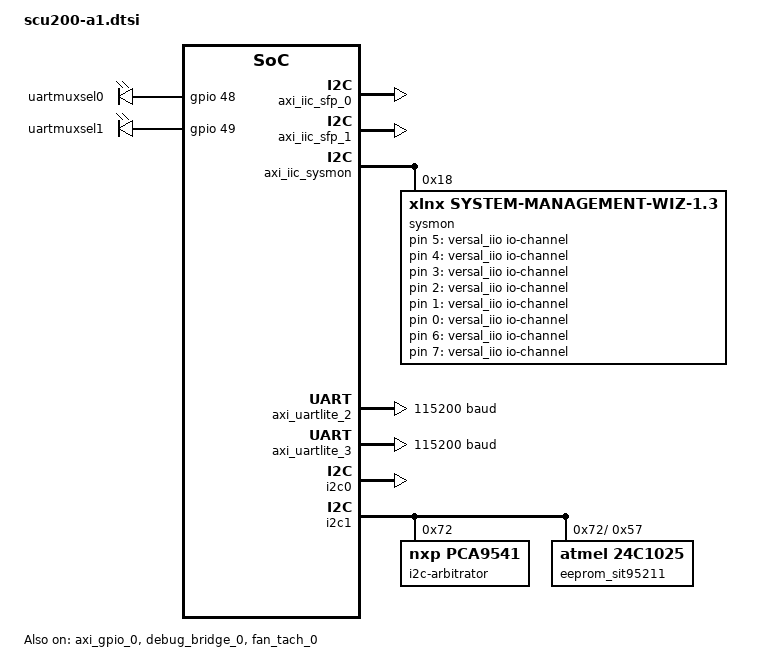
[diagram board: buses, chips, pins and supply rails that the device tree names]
/dts-v1/;
/plugin/;

&{/} {
	compatible = "xlnx,zynqmp-sc-scu200-revA",
		     "xlnx,zynqmp-sc-scu200", "xlnx,zynqmp";
	model = "ZynqMP SC SCU200 revA";

	versal_iio: versal {
		compatible = "iio-hwmon";
		io-channels = <&sysmon 5>, <&sysmon 4>, <&sysmon 3>,
			      <&sysmon 2>, <&sysmon 1>, <&sysmon 0>,
			      <&sysmon 6>, <&sysmon 7>;
	};

	leds-um {
		compatible = "gpio-leds";
		um0-led {
			label = "uartmuxsel0";
			gpios = <&gpio 48 0>;
			default-state = "off";
		};

		um1-led {
			label = "uartmuxsel1";
			gpios = <&gpio 49 0>;
			default-state = "off";
		};
	};
};

&fpga_full {
	firmware-name = "scu200-a1.bin";
	clocking0: clocking0 {
		compatible = "xlnx,fclk";
		status = "okay";
		assigned-clocks = <&zynqmp_clk 71>;
		assigned-clock-rates = <99999999>;
		#clock-cells = <0>;
		clock-output-names = "fabric_clk";
		clocks = <&zynqmp_clk 71>;
	};
	afi0: afi0 {
		status = "okay";
		compatible = "xlnx,afi-fpga";
		resets = <&zynqmp_reset 116>, <&zynqmp_reset 117>, <&zynqmp_reset 118>, <&zynqmp_reset 119>;
		config-afi = < 0 0>, <1 0>, <2 0>, <3 0>, <4 0>, <5 0>, <6 0>, <7 0>, <8 0>, <9 0>, <10 0>, <11 0>, <12 0>, <13 0>, <14 0xa00>, <15 0x000>;
	};

};



&amba {
	ranges;
	compatible = "simple-bus";
	#address-cells = <2>;
	#size-cells = <2>;
	axi_gpio_0: gpio@80020000 {
		#interrupt-cells = <2>;
		interrupts = < 0 94 4 >;
		xlnx,gpio-board-interface = "Custom";
		compatible = "xlnx,axi-gpio-2.0" , "xlnx,xps-gpio-1.00.a";
		xlnx,all-outputs = <0>;
		#gpio-cells = <2>;
		xlnx,gpio-width = <16>;
		interrupt-parent = <&gic>;
		xlnx,dout-default = <0x0>;
		xlnx,is-dual = <0>;
		xlnx,ip-name = "axi_gpio";
		xlnx,tri-default-2 = <0xffffffff>;
		reg = <0x0 0x80020000 0x0 0x10000>;
		xlnx,all-inputs-2 = <0>;
		clocks = <&zynqmp_clk 71>;
		xlnx,all-outputs-2 = <0>;
		gpio-controller;
		xlnx,interrupt-present = <1>;
		xlnx,gpio2-board-interface = "Custom";
		xlnx,edk-iptype = "PERIPHERAL";
		xlnx,dout-default-2 = <0x0>;
		status = "okay";
		xlnx,gpio2-width = <32>;
		clock-names = "s_axi_aclk";
		interrupt-controller;
		interrupt-names = "ip2intc_irpt";
		xlnx,tri-default = <0xffffffff>;
		xlnx,name = "axi_gpio_0";
		xlnx,all-inputs = <0>;
		gpio-line-names =
			/*  0 -  3 */ "SYS_PGOOD", "FMC_PRSNT_M2C_LT", "", "SYSCTLR_GPI6",
			/*  4 -  7 */ "SYSCTLR_GPI7", "", "SYSCTLR_GPI4", "SYSCTLR_GPI5",
			/*  8 - 11 */ "EEPROM_WP", "SYSCTLR_GPO0", "SYSCTLR_CLK_GPO1", "",
			/* 12 - 15 */ "SYSCTLR_GPO2", "SYSCTLR_GPO3", "DUT_PWR_EN", "";
	};
	axi_iic_sfp_0: i2c@80000000 {
		interrupts = < 0 96 4 >;
		xlnx,iic-freq-khz = <100>;
		compatible = "xlnx,axi-iic-2.1" , "xlnx,xps-iic-2.00.a";
		xlnx,scl-inertial-delay = <0>;
		interrupt-parent = <&gic>;
		xlnx,ip-name = "axi_iic";
		xlnx,disable-setup-violation-check = <0>;
		reg = <0x0 0x80000000 0x0 0x10000>;
		clocks = <&zynqmp_clk 71>;
		xlnx,gpo-width = <1>;
		xlnx,edk-iptype = "PERIPHERAL";
		xlnx,static-timing-reg-width = <0>;
		xlnx,sda-level = <1>;
		status = "okay";
		clock-names = "s_axi_aclk";
		xlnx,ten-bit-adr = <0>;
		xlnx,default-value = <0x0>;
		interrupt-names = "iic2intc_irpt";
		xlnx,iic-board-interface = "Custom";
		xlnx,timing-reg-width = <32>;
		xlnx,iic-freq = <100000>;
		xlnx,smbus-pmbus-host = <0>;
		xlnx,name = "axi_iic_sfp_0";
		xlnx,axi-aclk-freq-mhz = <0x5f5dd19>;
		xlnx,sda-inertial-delay = <0>;
	};
	axi_iic_sfp_1: i2c@80030000 {
		interrupts = < 0 95 4 >;
		xlnx,iic-freq-khz = <100>;
		compatible = "xlnx,axi-iic-2.1" , "xlnx,xps-iic-2.00.a";
		xlnx,scl-inertial-delay = <0>;
		interrupt-parent = <&gic>;
		xlnx,ip-name = "axi_iic";
		xlnx,disable-setup-violation-check = <0>;
		reg = <0x0 0x80030000 0x0 0x10000>;
		clocks = <&zynqmp_clk 71>;
		xlnx,gpo-width = <1>;
		xlnx,edk-iptype = "PERIPHERAL";
		xlnx,static-timing-reg-width = <0>;
		xlnx,sda-level = <1>;
		status = "okay";
		clock-names = "s_axi_aclk";
		xlnx,ten-bit-adr = <0>;
		xlnx,default-value = <0x0>;
		interrupt-names = "iic2intc_irpt";
		xlnx,iic-board-interface = "Custom";
		xlnx,timing-reg-width = <32>;
		xlnx,iic-freq = <100000>;
		xlnx,smbus-pmbus-host = <0>;
		xlnx,name = "axi_iic_sfp_1";
		xlnx,axi-aclk-freq-mhz = <0x5f5dd19>;
		xlnx,sda-inertial-delay = <0>;
	};
	axi_iic_sysmon: i2c@80060000 {
		interrupts = < 0 93 4 >;
		xlnx,iic-freq-khz = <100>;
		compatible = "xlnx,axi-iic-2.1" , "xlnx,xps-iic-2.00.a";
		xlnx,scl-inertial-delay = <0>;
		interrupt-parent = <&gic>;
		xlnx,ip-name = "axi_iic";
		xlnx,disable-setup-violation-check = <0>;
		reg = <0x0 0x80060000 0x0 0x10000>;
		clocks = <&zynqmp_clk 71>;
		xlnx,gpo-width = <1>;
		xlnx,edk-iptype = "PERIPHERAL";
		xlnx,static-timing-reg-width = <0>;
		xlnx,sda-level = <1>;
		status = "okay";
		clock-names = "s_axi_aclk";
		xlnx,ten-bit-adr = <0>;
		xlnx,default-value = <0x0>;
		interrupt-names = "iic2intc_irpt";
		xlnx,iic-board-interface = "Custom";
		xlnx,timing-reg-width = <32>;
		xlnx,iic-freq = <100000>;
		xlnx,smbus-pmbus-host = <0>;
		xlnx,name = "axi_iic_sysmon";
		xlnx,axi-aclk-freq-mhz = <0x5f5dd19>;
		xlnx,sda-inertial-delay = <0>;
		sysmon: i2c@18 {
			compatible = "xlnx,system-management-wiz-1.3";
			reg = <0x18>;
			status = "okay";
			#io-channel-cells = <1>;
		};
	};
	axi_uartlite_2: serial@80070000 {
		interrupts = < 0 104 1 >;
		compatible = "xlnx,axi-uartlite-2.0" , "xlnx,xps-uartlite-1.00.a";
		xlnx,uartlite-board-interface = "Custom";
		xlnx,s-axi-aclk-freq-hz-d = <0x5f5dd19>;
		interrupt-parent = <&gic>;
		xlnx,ip-name = "axi_uartlite";
		reg = <0x0 0x80070000 0x0 0x10000>;
		xlnx,baudrate = <115200>;
		clocks = <&zynqmp_clk 71>;
		current-speed = <115200>;
		xlnx,use-parity = <0>;
		xlnx,edk-iptype = "PERIPHERAL";
		xlnx,odd-parity = <0>;
		status = "okay";
		clock-names = "s_axi_aclk";
		interrupt-names = "interrupt";
		xlnx,name = "axi_uartlite_2";
		xlnx,data-bits = <8>;
		xlnx,parity = "No_Parity";
	};
	axi_uartlite_3: serial@80050000 {
		interrupts = < 0 91 1 >;
		compatible = "xlnx,axi-uartlite-2.0" , "xlnx,xps-uartlite-1.00.a";
		xlnx,uartlite-board-interface = "Custom";
		xlnx,s-axi-aclk-freq-hz-d = <0x5f5dd19>;
		interrupt-parent = <&gic>;
		xlnx,ip-name = "axi_uartlite";
		reg = <0x0 0x80050000 0x0 0x10000>;
		xlnx,baudrate = <115200>;
		clocks = <&zynqmp_clk 71>;
		current-speed = <115200>;
		xlnx,use-parity = <0>;
		xlnx,edk-iptype = "PERIPHERAL";
		xlnx,odd-parity = <0>;
		status = "okay";
		clock-names = "s_axi_aclk";
		interrupt-names = "interrupt";
		xlnx,name = "axi_uartlite_3";
		xlnx,data-bits = <8>;
		xlnx,parity = "No_Parity";
	};
	debug_bridge_0: debug_bridge@80010000 {
		xlnx,xvc-sw-id = <0x1>;
		xlnx,fifo-style = "SUBCORE";
		compatible = "xlnx,debug-bridge-3.0" , "generic-uio";
		xlnx,pcie-ext-cfg-next-ptr = <0x0>;
		xlnx,num-bs-master = <0>;
		xlnx,pcie-ext-cfg-vsec-id = <0x8>;
		xlnx,major-version = <14>;
		xlnx,bscan-mux = <1>;
		xlnx,xvc-hw-id = <0x1>;
		xlnx,device-family = <0>;
		xlnx,dclk-has-reset = <0>;
		xlnx,ip-name = "debug_bridge";
		xlnx,ir-width = <0>;
		reg = <0x0 0x80010000 0x0 0x10000>;
		xlnx,core-minor-alpha-ver = <97>;
		clocks = <&zynqmp_clk 71>;
		xlnx,xsdb-num-slaves = <0>;
		xlnx,en-int-sim = <1>;
		xlnx,clk-input-freq-hz = <300000000>;
		xlnx,ir-id-instr = <0>;
		xlnx,edk-iptype = "PERIPHERAL";
		xlnx,pcie-ext-cfg-base-addr = <0x400>;
		xlnx,build-revision = <0>;
		xlnx,use-softbscan = <1>;
		xlnx,ir-user1-instr = <0>;
		xlnx,core-minor-ver = <0>;
		xlnx,pcie-ext-cfg-vsec-rev-id = <0x0>;
		status = "okay";
		xlnx,chip-id = <0>;
		clock-names = "s_axi_aclk";
		xlnx,use-ext-bscan;
		xlnx,tck-clock-ratio = <8>;
		xlnx,minor-version = <1>;
		xlnx,en-passthrough = <0>;
		xlnx,core-type = <1>;
		xlnx,user-scan-chain = <1>;
		xlnx,use-bufr = <0>;
		xlnx,pcie-ext-cfg-vsec-length = <0x20>;
		xlnx,master-intf-type = <1>;
		xlnx,design-type = <0>;
		xlnx,debug-mode = <3>;
		xlnx,name = "debug_bridge_0";
		xlnx,core-major-ver = <1>;
	};
	fan_tach_0: fan_tach@80080000 {
		interrupt-parent = <&gic>;
		interrupts = < 0 89 4 0 90 4 >;
		compatible = "xlnx,fan-tach-1.0";
		status = "okay";
		clock-names = "clk";
		xlnx,ip-name = "fan_tach";
		interrupt-names = "interrupt_fan_fail" , "interrupt_pwm_det";
		xlnx,edk-iptype = "PERIPHERAL";
		reg = <0x0 0x80080000 0x0 0x1000 0x0 0x80081000 0x0 0x1000 0x0 0x80082000 0x0 0x1000>;
		clocks = <&zynqmp_clk 71>;
		xlnx,name = "fan_tach_0";
	};
};




&i2c0 { /* I2C_SCK C42/D42 - MIO 66/67 FMC */
	status = "okay";
	/* board_i2c0 */
};

&i2c1 { /* I2C_SCK C26/C27 - MIO from SOM */
	#address-cells = <1>;
	#size-cells = <0>;

	i2c-arbitrator@72 { /* u75 */
		compatible = "nxp,pca9541";
		reg = <0x72>;

		i2c-arb {
			#address-cells = <1>;
			#size-cells = <0>;
			/* board_i2c1 */
			/* 0x69 - SIT95211 clock generator */
			/* 0x20 - TPS25730 power */
			/* 0x44 - ina700 monitor */
			/* 0x40 - pina745ai power */
			/* 0x45 - ina700 monitor */

			eeprom_u94: eeprom@57 { /* also at address 0x5f - 1024Kbit */
				label = "eeprom_sit95211";
				bootph-all;
				compatible = "atmel,24c1025"; /* st 24FC1025T */
				reg = <0x57>;
			};
		};
	};
};
